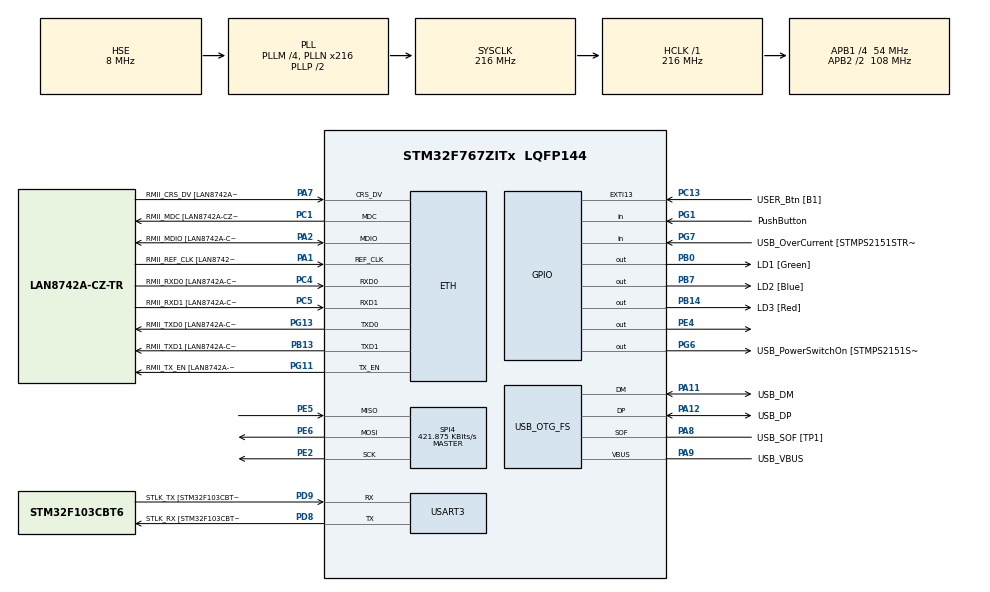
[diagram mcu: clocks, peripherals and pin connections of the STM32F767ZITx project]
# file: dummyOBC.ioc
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Dma.Request0=SPI4_RX
Dma.Request1=SPI4_TX
Dma.SPI4_RX.0.Direction=DMA_PERIPH_TO_MEMORY
Dma.SPI4_RX.0.FIFOMode=DMA_FIFOMODE_DISABLE
Dma.SPI4_RX.0.Instance=DMA2_Stream0
Dma.SPI4_RX.0.MemDataAlignment=DMA_MDATAALIGN_BYTE
Dma.SPI4_RX.0.MemInc=DMA_MINC_ENABLE
Dma.SPI4_RX.0.Mode=DMA_NORMAL
Dma.SPI4_RX.0.PeriphDataAlignment=DMA_PDATAALIGN_BYTE
Dma.SPI4_RX.0.PeriphInc=DMA_PINC_DISABLE
Dma.SPI4_RX.0.Priority=DMA_PRIORITY_HIGH
Dma.SPI4_TX.1.Direction=DMA_MEMORY_TO_PERIPH
Dma.SPI4_TX.1.FIFOMode=DMA_FIFOMODE_DISABLE
Dma.SPI4_TX.1.Instance=DMA2_Stream1
Dma.SPI4_TX.1.MemDataAlignment=DMA_MDATAALIGN_BYTE
Dma.SPI4_TX.1.MemInc=DMA_MINC_ENABLE
Dma.SPI4_TX.1.Mode=DMA_NORMAL
Dma.SPI4_TX.1.PeriphDataAlignment=DMA_PDATAALIGN_BYTE
Dma.SPI4_TX.1.PeriphInc=DMA_PINC_DISABLE
Dma.SPI4_TX.1.Priority=DMA_PRIORITY_HIGH
ETH.MediaInterface=ETH_MEDIA_INTERFACE_RMII
ETH.PHY_Name=LAN8742A_PHY_ADDRESS
ETH.PHY_Value=0
ETH.PhyAddress=0
Mcu.Family=STM32F7
Mcu.Name=STM32F767ZITx
Mcu.Package=LQFP144
NVIC.DMA2_Stream0_IRQn=true\:0\:0\:false\:false\:true\:false\:true
NVIC.DMA2_Stream1_IRQn=true\:0\:0\:false\:false\:true\:false\:true
NVIC.PriorityGroup=NVIC_PRIORITYGROUP_4
NVIC.SPI4_IRQn=true\:0\:0\:false\:false\:true\:true\:true
NVIC.TIM8_TRG_COM_TIM14_IRQn=true\:0\:0\:false\:false\:true\:true\:true
PA1.GPIO_Label=RMII_REF_CLK [LAN8742A-CZ-TR_REFCLK0]
PA1.Mode=RMII
PA1.Signal=ETH_REF_CLK
PA10.GPIO_Label=USB_ID
PA10.Signal=USB_OTG_FS_ID
PA11.GPIO_Label=USB_DM
PA11.Mode=Device_Only
PA11.Signal=USB_OTG_FS_DM
PA12.GPIO_Label=USB_DP
PA12.Mode=Device_Only
PA12.Signal=USB_OTG_FS_DP
PA13.GPIO_Label=TMS
PA13.Mode=Serial_Wire
PA13.Signal=SYS_JTMS-SWDIO
PA14.GPIO_Label=TCK
PA14.Mode=Serial_Wire
PA14.Signal=SYS_JTCK-SWCLK
PA2.GPIO_Label=RMII_MDIO [LAN8742A-CZ-TR_MDIO]
PA2.Mode=RMII
PA2.Signal=ETH_MDIO
PA7.GPIO_Label=RMII_CRS_DV [LAN8742A-CZ-TR_CRS_DV]
PA7.Mode=RMII
PA7.Signal=ETH_CRS_DV
PA8.GPIO_Label=USB_SOF [TP1]
PA8.Mode=Activate_SOF_FS
PA8.Signal=USB_OTG_FS_SOF
PA9.GPIO_Label=USB_VBUS
PA9.Mode=Activate_VBUS
PA9.Signal=USB_OTG_FS_VBUS
PB0.GPIO_Label=LD1 [Green]
PB0.Signal=GPIO_Output
PB13.GPIO_Label=RMII_TXD1 [LAN8742A-CZ-TR_TXD1]
PB13.Mode=RMII
PB13.Signal=ETH_TXD1
PB14.GPIO_Label=LD3 [Red]
PB14.Signal=GPIO_Output
PB3.GPIO_Label=SWO
PB3.Signal=SYS_JTDO-SWO
PB7.GPIO_Label=LD2 [Blue]
PB7.Signal=GPIO_Output
PC1.GPIO_Label=RMII_MDC [LAN8742A-CZ-TR_MDC]
PC1.Mode=RMII
PC1.Signal=ETH_MDC
PC13.GPIO_Label=USER_Btn [B1]
PC13.Signal=GPXTI13
PC14/OSC32_IN.Mode=LSE-External-Oscillator
PC14/OSC32_IN.Signal=RCC_OSC32_IN
PC15/OSC32_OUT.Mode=LSE-External-Oscillator
PC15/OSC32_OUT.Signal=RCC_OSC32_OUT
PC4.GPIO_Label=RMII_RXD0 [LAN8742A-CZ-TR_RXD0]
PC4.Mode=RMII
PC4.Signal=ETH_RXD0
PC5.GPIO_Label=RMII_RXD1 [LAN8742A-CZ-TR_RXD1]
PC5.Mode=RMII
PC5.Signal=ETH_RXD1
PD8.GPIO_Label=STLK_RX [STM32F103CBT6_PA3]
PD8.Mode=Asynchronous
PD8.Signal=USART3_TX
PD9.GPIO_Label=STLK_TX [STM32F103CBT6_PA2]
PD9.Mode=Asynchronous
PD9.Signal=USART3_RX
PE2.Mode=Full_Duplex_Master
PE2.Signal=SPI4_SCK
PE4.Signal=GPIO_Output
PE5.Mode=Full_Duplex_Master
PE5.Signal=SPI4_MISO
PE6.Mode=Full_Duplex_Master
PE6.Signal=SPI4_MOSI
PG1.GPIO_Label=PushButton
PG1.Signal=GPIO_Input
PG11.GPIO_Label=RMII_TX_EN [LAN8742A-CZ-TR_TXEN]
PG11.Mode=RMII
PG11.Signal=ETH_TX_EN
PG13.GPIO_Label=RMII_TXD0 [LAN8742A-CZ-TR_TXD0]
PG13.Mode=RMII
PG13.Signal=ETH_TXD0
PG6.GPIO_Label=USB_PowerSwitchOn [STMPS2151STR_EN]
PG6.Signal=GPIO_Output
PG7.GPIO_Label=USB_OverCurrent [STMPS2151STR_FAULT]
PG7.Signal=GPIO_Input
PH0/OSC_IN.GPIO_Label=MCO [STM32F103CBT6_PA8]
PH0/OSC_IN.Mode=HSE-External-Clock-Source
PH0/OSC_IN.Signal=RCC_OSC_IN
PH1/OSC_OUT.Mode=HSE-External-Clock-Source
PH1/OSC_OUT.Signal=RCC_OSC_OUT
ProjectManager.HeapSize=0x200
ProjectManager.StackSize=0x400
ProjectManager.TargetToolchain=STM32CubeIDE
RCC.48MHZClocksFreq_Value=24000000
RCC.AHBFreq_Value=216000000
RCC.APB1CLKDivider=RCC_HCLK_DIV4
RCC.APB1Freq_Value=54000000
RCC.APB1TimFreq_Value=108000000
RCC.APB2CLKDivider=RCC_HCLK_DIV2
RCC.APB2Freq_Value=108000000
RCC.APB2TimFreq_Value=216000000
RCC.CortexFreq_Value=216000000
RCC.HCLKFreq_Value=216000000
RCC.HSE_VALUE=8000000
RCC.HSI_VALUE=16000000
RCC.PLLM=4
RCC.PLLMUL=RCC_PLL_MUL9
RCC.PLLN=216
RCC.PLLQ=9
RCC.PRESCALERUSB=RCC_USBCLKSOURCE_PLL_DIV1_5
RCC.SYSCLKFreq_VALUE=216000000
RCC.SYSCLKSource=RCC_SYSCLKSOURCE_PLLCLK
RCC.SYSCLKSourceVirtual=RCC_SYSCLKSOURCE_PLLCLK
RCC.USBFreq_Value=48000000
RCC.VCOOutputFreq_Value=432000000
SPI4.BaudRatePrescaler=SPI_BAUDRATEPRESCALER_256
SPI4.CalculateBaudRate=421.875 KBits/s
SPI4.DataSize=SPI_DATASIZE_8BIT
SPI4.Direction=SPI_DIRECTION_2LINES
SPI4.Mode=SPI_MODE_MASTER
SPI4.VirtualType=VM_MASTER
TIM14.Period=5000 - 1
TIM14.Prescaler=10800 - 1
USART3.VirtualMode-Asynchronous=VM_ASYNC
USB_OTG_FS.VirtualMode=Device_Only
VP_TIM14_VS_ClockSourceINT.Mode=Enable_Timer
board=NUCLEO-F767ZI

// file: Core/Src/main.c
/* USER CODE BEGIN Header */
/**
  ******************************************************************************
  * @file           : main.c
  * @brief          : Main program body
  ******************************************************************************
  * @attention
  *
  * <h2><center>&copy; Copyright (c) 2022 STMicroelectronics.
  * All rights reserved.</center></h2>
  *
  * This software component is licensed by ST under BSD 3-Clause license,
  * the "License"; You may not use this file except in compliance with the
  * License. You may obtain a copy of the License at:
  *                        opensource.org/licenses/BSD-3-Clause
  *
  ******************************************************************************
  */
/* USER CODE END Header */
#include "main.h"

/* USER CODE BEGIN Includes */
#include "stdio.h"
#include "IntraSatComm.h"
#include "string.h"
#include "OBCheader.h"
/* USER CODE END Includes */

ETH_HandleTypeDef heth;

SPI_HandleTypeDef hspi4;
DMA_HandleTypeDef hdma_spi4_rx;
DMA_HandleTypeDef hdma_spi4_tx;

TIM_HandleTypeDef htim14;

UART_HandleTypeDef huart3;

PCD_HandleTypeDef hpcd_USB_OTG_FS;

/* USER CODE BEGIN PV */
int loops;

uint8_t BufferTX[12] = {};
uint8_t BufferRX[12] = {};
uint8_t BufferArg[12] = {};

uint8_t BufferTX2[23] = {};
uint8_t BufferRX2[23] = {};
uint8_t BufferArg2[23] = {};

uint8_t BufferTXDummy[12] = {};

uint8_t nextMsgLen[] = {0x0C};
uint8_t Euler_angles[12] = {};

uint8_t id, len, cmd;
uint8_t pin;
int Ack = 0;
int state_transfer = 0;
int state = 0;
int isReset = 0;

/* USER CODE END PV */

void SystemClock_Config(void);
static void MX_GPIO_Init(void);
static void MX_ETH_Init(void);
static void MX_USART3_UART_Init(void);
static void MX_SPI4_Init(void);
static void MX_USB_OTG_FS_PCD_Init(void);
static void MX_DMA_Init(void);
static void MX_TIM14_Init(void);

/* USER CODE BEGIN 0 */

void clear(uint8_t *buffer, int len)
{
	for(int i = 0; i<len; i++)
	{
		buffer[i] = 0x00;
	}
};

void HAL_TIM_PeriodElapsedCallback(TIM_HandleTypeDef *htim)
{
	if(htim->Instance == htim14.Instance)
	{
		HAL_GPIO_TogglePin (GPIOB, GPIO_PIN_7);
	}
};

void SetEuler(void)
{
	uint8_t arg[] = {0x0C};				//next message length
	PacketAssemble(ACU_BUS_ID, ACU_HANDSHAKE, arg, 1, BufferTX);
	HAL_Delay(5000);
	HAL_GPIO_WritePin(GPIOE, GPIO_PIN_4, GPIO_PIN_RESET);
	HAL_SPI_Transmit(&hspi4, BufferTX, sizeof(BufferTX), HAL_MAX_DELAY);
	HAL_GPIO_WritePin(GPIOE, GPIO_PIN_4, GPIO_PIN_SET);
	HAL_Delay(3);

	HAL_GPIO_WritePin(GPIOE, GPIO_PIN_4, GPIO_PIN_RESET);
	HAL_SPI_Receive(&hspi4, BufferRX, 12, HAL_MAX_DELAY);
	HAL_GPIO_WritePin(GPIOE, GPIO_PIN_4, GPIO_PIN_SET);
	HAL_Delay(3);

	deframeReturn retVal;

	retVal = PacketDisassemble(&id, &len, &cmd, BufferArg, BufferRX, sizeof(BufferArg));

	if(retVal == DEFRAME_OK)
	{
	  Ack++;
	}

	if(Ack ==  1)
	{

	  float num = 2.5;
	  memmove(Euler_angles, (unsigned char*) &num,4);
	  memmove(Euler_angles+4, (unsigned char*) &num,4);
	  memmove(Euler_angles+8, (unsigned char*) &num,4);

	  PacketAssemble(ACU_BUS_ID, ACU_SETEULER, Euler_angles, 12, BufferTX2);
	  HAL_GPIO_WritePin(GPIOE, GPIO_PIN_4, GPIO_PIN_RESET);
	  HAL_SPI_Transmit(&hspi4, BufferTX2, sizeof(BufferTX2), HAL_MAX_DELAY);
	  HAL_GPIO_WritePin(GPIOE, GPIO_PIN_4, GPIO_PIN_SET);
	  HAL_Delay(3);
	}

	HAL_GPIO_WritePin(GPIOE, GPIO_PIN_4, GPIO_PIN_RESET);
	HAL_SPI_Receive(&hspi4, BufferRX2, 12, HAL_MAX_DELAY);
	HAL_GPIO_WritePin(GPIOE, GPIO_PIN_4, GPIO_PIN_SET);
	HAL_Delay(3);

	retVal = PacketDisassemble(&id, &len, &cmd, BufferArg, BufferRX2, sizeof(BufferArg));

	if(retVal == DEFRAME_OK)
	{
	  Ack++;
	}

	Ack = 0;
	HAL_SPIEx_FlushRxFifo(&hspi4);
	clear(BufferTX, sizeof(BufferTX));
	clear(BufferRX, sizeof(BufferRX));
	clear(BufferTX2, sizeof(BufferTX2));
	clear(BufferRX2, sizeof(BufferRX2));
};

void ReqEuler(void)
{
	uint8_t arg[] = {0x01};
	PacketAssemble(ACU_BUS_ID, ACU_HANDSHAKE, arg, 1, BufferTX);
	HAL_Delay(5000);
	HAL_GPIO_WritePin(GPIOE, GPIO_PIN_4, GPIO_PIN_RESET);
	HAL_SPI_Transmit(&hspi4, BufferTX, sizeof(BufferTX), HAL_MAX_DELAY);
	HAL_GPIO_WritePin(GPIOE, GPIO_PIN_4, GPIO_PIN_SET);
	HAL_Delay(3);

	HAL_GPIO_WritePin(GPIOE, GPIO_PIN_4, GPIO_PIN_RESET);
	HAL_SPI_Receive(&hspi4, BufferRX, sizeof(BufferRX), HAL_MAX_DELAY);
	HAL_GPIO_WritePin(GPIOE, GPIO_PIN_4, GPIO_PIN_SET);
	HAL_Delay(3);

	deframeReturn retVal;

	retVal = PacketDisassemble(&id, &len, &cmd, BufferArg, BufferRX, sizeof(BufferArg));

	if(retVal == DEFRAME_OK)
	{
	  Ack++;
	}

	if(Ack ==  1)
	{

	  PacketAssemble(ACU_BUS_ID, ACU_REQEULER, Euler_angles, 1, BufferTX2);
	  HAL_GPIO_WritePin(GPIOE, GPIO_PIN_4, GPIO_PIN_RESET);
	  HAL_SPI_Transmit(&hspi4, BufferTX2, 12, HAL_MAX_DELAY);
	  HAL_GPIO_WritePin(GPIOE, GPIO_PIN_4, GPIO_PIN_SET);
	  HAL_Delay(3);
	}

	HAL_GPIO_WritePin(GPIOE, GPIO_PIN_4, GPIO_PIN_RESET);
	HAL_SPI_Receive(&hspi4, BufferRX2, 23, HAL_MAX_DELAY);
	HAL_GPIO_WritePin(GPIOE, GPIO_PIN_4, GPIO_PIN_SET);
	HAL_Delay(3);

	retVal = PacketDisassemble(&id, &len, &cmd, BufferArg, BufferRX2, sizeof(BufferArg));

	if(retVal == DEFRAME_OK)
	{
	  Ack++;
	}

	Ack = 0;
	HAL_SPIEx_FlushRxFifo(&hspi4);
	clear(BufferTX, sizeof(BufferTX));
	clear(BufferRX, sizeof(BufferRX));
	clear(BufferTX2, sizeof(BufferTX2));
	clear(BufferRX2, sizeof(BufferRX2));
}

void sendDummy()
{
	uint8_t arg[] = {0x0A};				//next message length
	PacketAssemble(ACU_BUS_ID, ACU_HANDSHAKE, arg, 1, BufferTXDummy);
	HAL_Delay(5000);
	HAL_GPIO_WritePin(GPIOE, GPIO_PIN_4, GPIO_PIN_RESET);
	//HAL_Delay(2);
	HAL_SPI_Transmit(&hspi4, BufferTXDummy, sizeof(BufferTXDummy), HAL_MAX_DELAY);
	HAL_GPIO_WritePin(GPIOE, GPIO_PIN_4, GPIO_PIN_SET);
	HAL_Delay(3);
};
/* USER CODE END 0 */

int main(void)
{

  /* MCU Configuration--------------------------------------------------------*/

  /* Reset of all peripherals, Initializes the Flash interface and the Systick. */
  HAL_Init();

  /* Configure the system clock */
  SystemClock_Config();

  /* USER CODE BEGIN SysInit */
  MX_DMA_Init();
  /* USER CODE END SysInit */

  /* Initialize all configured peripherals */
  MX_GPIO_Init();
  //MX_ETH_Init();
  MX_USART3_UART_Init();
  MX_SPI4_Init();
  MX_USB_OTG_FS_PCD_Init();
  //MX_DMA_Init();
  MX_TIM14_Init();
  /* USER CODE BEGIN 2 */

  HAL_TIM_Base_Start_IT(&htim14);
  HAL_GPIO_WritePin(GPIOE, GPIO_PIN_4, GPIO_PIN_SET);

  PacketInit();
  /* USER CODE END 2 */

  /* Infinite loop */
  /* USER CODE BEGIN WHILE */

  //SetEuler();
  //ReqEuler();
  while (1)
  {
    /* USER CODE END WHILE */

    /* USER CODE BEGIN 3 */

	pin = HAL_GPIO_ReadPin(GPIOG, GPIO_PIN_1);

	if(pin == 1 )
	{
		//ReqEuler();
		SetEuler();
		//sendDummy();
	}
  }
  /* USER CODE END 3 */
}

void SystemClock_Config(void)
{
  RCC_OscInitTypeDef RCC_OscInitStruct = {0};
  RCC_ClkInitTypeDef RCC_ClkInitStruct = {0};
  RCC_PeriphCLKInitTypeDef PeriphClkInitStruct = {0};

  /** Configure LSE Drive Capability
  */
  HAL_PWR_EnableBkUpAccess();
  /** Configure the main internal regulator output voltage
  */
  __HAL_RCC_PWR_CLK_ENABLE();
  __HAL_PWR_VOLTAGESCALING_CONFIG(PWR_REGULATOR_VOLTAGE_SCALE1);
  /** Initializes the RCC Oscillators according to the specified parameters
  * in the RCC_OscInitTypeDef structure.
  */
  RCC_OscInitStruct.OscillatorType = RCC_OSCILLATORTYPE_HSE;
  RCC_OscInitStruct.HSEState = RCC_HSE_BYPASS;
  RCC_OscInitStruct.PLL.PLLState = RCC_PLL_ON;
  RCC_OscInitStruct.PLL.PLLSource = RCC_PLLSOURCE_HSE;
  RCC_OscInitStruct.PLL.PLLM = 4;
  RCC_OscInitStruct.PLL.PLLN = 216;
  RCC_OscInitStruct.PLL.PLLP = RCC_PLLP_DIV2;
  RCC_OscInitStruct.PLL.PLLQ = 9;
  RCC_OscInitStruct.PLL.PLLR = 2;
  if (HAL_RCC_OscConfig(&RCC_OscInitStruct) != HAL_OK)
  {
    Error_Handler();
  }
  /** Activate the Over-Drive mode
  */
  if (HAL_PWREx_EnableOverDrive() != HAL_OK)
  {
    Error_Handler();
  }
  /** Initializes the CPU, AHB and APB buses clocks
  */
  RCC_ClkInitStruct.ClockType = RCC_CLOCKTYPE_HCLK|RCC_CLOCKTYPE_SYSCLK
                              |RCC_CLOCKTYPE_PCLK1|RCC_CLOCKTYPE_PCLK2;
  RCC_ClkInitStruct.SYSCLKSource = RCC_SYSCLKSOURCE_PLLCLK;
  RCC_ClkInitStruct.AHBCLKDivider = RCC_SYSCLK_DIV1;
  RCC_ClkInitStruct.APB1CLKDivider = RCC_HCLK_DIV4;
  RCC_ClkInitStruct.APB2CLKDivider = RCC_HCLK_DIV2;

  if (HAL_RCC_ClockConfig(&RCC_ClkInitStruct, FLASH_LATENCY_7) != HAL_OK)
  {
    Error_Handler();
  }
  PeriphClkInitStruct.PeriphClockSelection = RCC_PERIPHCLK_USART3|RCC_PERIPHCLK_CLK48;
  PeriphClkInitStruct.Usart3ClockSelection = RCC_USART3CLKSOURCE_PCLK1;
  PeriphClkInitStruct.Clk48ClockSelection = RCC_CLK48SOURCE_PLL;
  if (HAL_RCCEx_PeriphCLKConfig(&PeriphClkInitStruct) != HAL_OK)
  {
    Error_Handler();
  }
}

static void MX_ETH_Init(void)
{

   static uint8_t MACAddr[6];

  heth.Instance = ETH;
  heth.Init.AutoNegotiation = ETH_AUTONEGOTIATION_ENABLE;
  heth.Init.Speed = ETH_SPEED_100M;
  heth.Init.DuplexMode = ETH_MODE_FULLDUPLEX;
  heth.Init.PhyAddress = LAN8742A_PHY_ADDRESS;
  MACAddr[0] = 0x00;
  MACAddr[1] = 0x80;
  MACAddr[2] = 0xE1;
  MACAddr[3] = 0x00;
  MACAddr[4] = 0x00;
  MACAddr[5] = 0x00;
  heth.Init.MACAddr = &MACAddr[0];
  heth.Init.RxMode = ETH_RXPOLLING_MODE;
  heth.Init.ChecksumMode = ETH_CHECKSUM_BY_HARDWARE;
  heth.Init.MediaInterface = ETH_MEDIA_INTERFACE_RMII;

  if (HAL_ETH_Init(&heth) != HAL_OK)
  {
    Error_Handler();
  }

}

static void MX_SPI4_Init(void)
{

  /* SPI4 parameter configuration*/
  hspi4.Instance = SPI4;
  hspi4.Init.Mode = SPI_MODE_MASTER;
  hspi4.Init.Direction = SPI_DIRECTION_2LINES;
  hspi4.Init.DataSize = SPI_DATASIZE_8BIT;
  hspi4.Init.CLKPolarity = SPI_POLARITY_LOW;
  hspi4.Init.CLKPhase = SPI_PHASE_1EDGE;
  hspi4.Init.NSS = SPI_NSS_SOFT;
  hspi4.Init.BaudRatePrescaler = SPI_BAUDRATEPRESCALER_256;
  hspi4.Init.FirstBit = SPI_FIRSTBIT_MSB;
  hspi4.Init.TIMode = SPI_TIMODE_DISABLE;
  hspi4.Init.CRCCalculation = SPI_CRCCALCULATION_DISABLE;
  hspi4.Init.CRCPolynomial = 7;
  hspi4.Init.CRCLength = SPI_CRC_LENGTH_DATASIZE;
  hspi4.Init.NSSPMode = SPI_NSS_PULSE_ENABLE;
  if (HAL_SPI_Init(&hspi4) != HAL_OK)
  {
    Error_Handler();
  }

}

static void MX_TIM14_Init(void)
{

  htim14.Instance = TIM14;
  htim14.Init.Prescaler = 10800 - 1;
  htim14.Init.CounterMode = TIM_COUNTERMODE_UP;
  htim14.Init.Period = 5000 - 1;
  htim14.Init.ClockDivision = TIM_CLOCKDIVISION_DIV1;
  htim14.Init.AutoReloadPreload = TIM_AUTORELOAD_PRELOAD_DISABLE;
  if (HAL_TIM_Base_Init(&htim14) != HAL_OK)
  {
    Error_Handler();
  }

}

static void MX_USART3_UART_Init(void)
{

  huart3.Instance = USART3;
  huart3.Init.BaudRate = 115200;
  huart3.Init.WordLength = UART_WORDLENGTH_8B;
  huart3.Init.StopBits = UART_STOPBITS_1;
  huart3.Init.Parity = UART_PARITY_NONE;
  huart3.Init.Mode = UART_MODE_TX_RX;
  huart3.Init.HwFlowCtl = UART_HWCONTROL_NONE;
  huart3.Init.OverSampling = UART_OVERSAMPLING_16;
  huart3.Init.OneBitSampling = UART_ONE_BIT_SAMPLE_DISABLE;
  huart3.AdvancedInit.AdvFeatureInit = UART_ADVFEATURE_NO_INIT;
  if (HAL_UART_Init(&huart3) != HAL_OK)
  {
    Error_Handler();
  }

}

static void MX_USB_OTG_FS_PCD_Init(void)
{

  hpcd_USB_OTG_FS.Instance = USB_OTG_FS;
  hpcd_USB_OTG_FS.Init.dev_endpoints = 6;
  hpcd_USB_OTG_FS.Init.speed = PCD_SPEED_FULL;
  hpcd_USB_OTG_FS.Init.dma_enable = DISABLE;
  hpcd_USB_OTG_FS.Init.phy_itface = PCD_PHY_EMBEDDED;
  hpcd_USB_OTG_FS.Init.Sof_enable = ENABLE;
  hpcd_USB_OTG_FS.Init.low_power_enable = DISABLE;
  hpcd_USB_OTG_FS.Init.lpm_enable = DISABLE;
  hpcd_USB_OTG_FS.Init.vbus_sensing_enable = ENABLE;
  hpcd_USB_OTG_FS.Init.use_dedicated_ep1 = DISABLE;
  if (HAL_PCD_Init(&hpcd_USB_OTG_FS) != HAL_OK)
  {
    Error_Handler();
  }

}

static void MX_DMA_Init(void)
{

  /* DMA controller clock enable */
  __HAL_RCC_DMA2_CLK_ENABLE();

  /* DMA interrupt init */
  /* DMA2_Stream0_IRQn interrupt configuration */
  HAL_NVIC_SetPriority(DMA2_Stream0_IRQn, 0, 0);
  HAL_NVIC_EnableIRQ(DMA2_Stream0_IRQn);
  /* DMA2_Stream1_IRQn interrupt configuration */
  HAL_NVIC_SetPriority(DMA2_Stream1_IRQn, 0, 0);
  HAL_NVIC_EnableIRQ(DMA2_Stream1_IRQn);

}

static void MX_GPIO_Init(void)
{
  GPIO_InitTypeDef GPIO_InitStruct = {0};

  /* GPIO Ports Clock Enable */
  __HAL_RCC_GPIOE_CLK_ENABLE();
  __HAL_RCC_GPIOC_CLK_ENABLE();
  __HAL_RCC_GPIOH_CLK_ENABLE();
  __HAL_RCC_GPIOA_CLK_ENABLE();
  __HAL_RCC_GPIOB_CLK_ENABLE();
  __HAL_RCC_GPIOG_CLK_ENABLE();
  __HAL_RCC_GPIOD_CLK_ENABLE();

  /*Configure GPIO pin Output Level */
  HAL_GPIO_WritePin(GPIOE, GPIO_PIN_4, GPIO_PIN_RESET);

  /*Configure GPIO pin Output Level */
  HAL_GPIO_WritePin(GPIOB, LD1_Pin|LD3_Pin|LD2_Pin, GPIO_PIN_RESET);

  /*Configure GPIO pin Output Level */
  HAL_GPIO_WritePin(USB_PowerSwitchOn_GPIO_Port, USB_PowerSwitchOn_Pin, GPIO_PIN_RESET);

  /*Configure GPIO pin : PE4 */
  GPIO_InitStruct.Pin = GPIO_PIN_4;
  GPIO_InitStruct.Mode = GPIO_MODE_OUTPUT_PP;
  GPIO_InitStruct.Pull = GPIO_NOPULL;
  GPIO_InitStruct.Speed = GPIO_SPEED_FREQ_LOW;
  HAL_GPIO_Init(GPIOE, &GPIO_InitStruct);

  /*Configure GPIO pin : USER_Btn_Pin */
  GPIO_InitStruct.Pin = USER_Btn_Pin;
  GPIO_InitStruct.Mode = GPIO_MODE_IT_RISING;
  GPIO_InitStruct.Pull = GPIO_NOPULL;
  HAL_GPIO_Init(USER_Btn_GPIO_Port, &GPIO_InitStruct);

  /*Configure GPIO pins : LD1_Pin LD3_Pin LD2_Pin */
  GPIO_InitStruct.Pin = LD1_Pin|LD3_Pin|LD2_Pin;
  GPIO_InitStruct.Mode = GPIO_MODE_OUTPUT_PP;
  GPIO_InitStruct.Pull = GPIO_NOPULL;
  GPIO_InitStruct.Speed = GPIO_SPEED_FREQ_LOW;
  HAL_GPIO_Init(GPIOB, &GPIO_InitStruct);

  /*Configure GPIO pins : PushButton_Pin USB_OverCurrent_Pin */
  GPIO_InitStruct.Pin = PushButton_Pin|USB_OverCurrent_Pin;
  GPIO_InitStruct.Mode = GPIO_MODE_INPUT;
  GPIO_InitStruct.Pull = GPIO_NOPULL;
  HAL_GPIO_Init(GPIOG, &GPIO_InitStruct);

  /*Configure GPIO pin : USB_PowerSwitchOn_Pin */
  GPIO_InitStruct.Pin = USB_PowerSwitchOn_Pin;
  GPIO_InitStruct.Mode = GPIO_MODE_OUTPUT_PP;
  GPIO_InitStruct.Pull = GPIO_NOPULL;
  GPIO_InitStruct.Speed = GPIO_SPEED_FREQ_LOW;
  HAL_GPIO_Init(USB_PowerSwitchOn_GPIO_Port, &GPIO_InitStruct);

}

void Error_Handler(void)
{
  __disable_irq();
  while (1)
  {
  }
}

/************************ (C) COPYRIGHT STMicroelectronics *****END OF FILE****/
